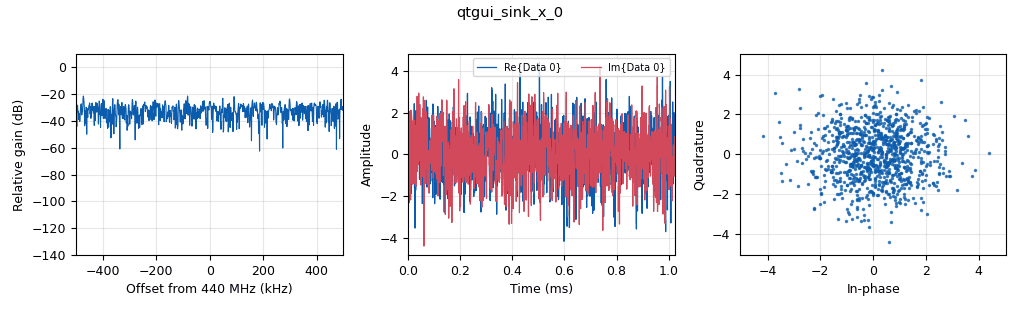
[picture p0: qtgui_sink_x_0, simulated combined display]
options:
  parameters:
    author: vivelpanel
    generate_options: qt_gui
    id: pulsar_simulator
    output_language: python
    title: Not titled yet
  states: {}

blocks:
- name: center_freq
  id: variable
  parameters:
    value: 440e6
  states: {}
- name: f_off
  id: variable
  parameters:
    value: .1e6
  states: {}
- name: 'off'
  id: variable
  parameters:
    value: '.01'
  states: {}
- name: per
  id: variable
  parameters:
    value: '.33'
  states: {}
- name: samp_rate
  id: variable
  parameters:
    value: 1e6
  states: {}
- name: time
  id: variable_qtgui_range
  parameters:
    start: '0'
    step: '.01'
    stop: '1'
    value: '0'
  states: {}
- name: analog_fastnoise_source_x_0
  id: analog_fastnoise_source_x
  parameters:
    amp: '1'
    noise_type: analog.GR_GAUSSIAN
    samples: '8192'
    seed: '234'
    type: complex
  states: {}
- name: analog_fastnoise_source_x_0_0
  id: analog_fastnoise_source_x
  parameters:
    amp: '.77'
    noise_type: analog.GR_GAUSSIAN
    samples: '8192'
    seed: '3872'
    type: complex
  states: {}
- name: analog_fastnoise_source_x_0_1
  id: analog_fastnoise_source_x
  parameters:
    amp: '1'
    noise_type: analog.GR_UNIFORM
    samples: '8192'
    seed: '9'
    type: complex
  states: {}
- name: analog_fastnoise_source_x_0_2
  id: analog_fastnoise_source_x
  parameters:
    amp: '.46'
    noise_type: analog.GR_GAUSSIAN
    samples: '8192'
    seed: '0'
    type: complex
  states: {}
- name: analog_noise_source_x_0
  id: analog_noise_source_x
  parameters:
    amp: '1'
    comment: Noise
    noise_type: analog.GR_GAUSSIAN
    seed: '55555'
    type: complex
  states: {}
- name: analog_sig_source_x_0
  id: analog_sig_source_x
  parameters:
    amp: pulse.pulsar(per, 0, time)
    freq: center_freq - (4*f_off)
    offset: '0'
    phase: '0'
    samp_rate: samp_rate
    type: complex
    waveform: analog.GR_COS_WAVE
  states: {}
- name: analog_sig_source_x_0_0
  id: analog_sig_source_x
  parameters:
    amp: pulse.pulsar(per, 4*off, time)
    comment: Pulsar
    freq: center_freq
    offset: '0'
    phase: '0'
    samp_rate: samp_rate
    type: complex
    waveform: analog.GR_COS_WAVE
  states: {}
- name: analog_sig_source_x_0_0_0
  id: analog_sig_source_x
  parameters:
    amp: pulse.pulsar(per, 9*off, time)
    comment: |-
      Pulsar

      For SIMPLICITY's sake,
      estimating that dispersion
      is linear and frequencies
      are discrete (even though
      this is known to be false).
    freq: center_freq + (5*f_off)
    offset: '0'
    phase: '0'
    samp_rate: samp_rate
    type: complex
    waveform: analog.GR_COS_WAVE
  states: {}
- name: analog_sig_source_x_0_1
  id: analog_sig_source_x
  parameters:
    amp: pulse.pulsar(per, 3*off, time)
    freq: center_freq - f_off
    offset: '0'
    phase: '0'
    samp_rate: samp_rate
    type: complex
    waveform: analog.GR_COS_WAVE
  states: {}
- name: analog_sig_source_x_0_1_0
  id: analog_sig_source_x
  parameters:
    amp: pulse.pulsar(per, 8*off, time)
    freq: center_freq + (4*f_off)
    offset: '0'
    phase: '0'
    samp_rate: samp_rate
    type: complex
    waveform: analog.GR_COS_WAVE
  states: {}
- name: analog_sig_source_x_0_2
  id: analog_sig_source_x
  parameters:
    amp: pulse.pulsar(per, 2*off, time)
    freq: center_freq - (2*f_off)
    offset: '0'
    phase: '0'
    samp_rate: samp_rate
    type: complex
    waveform: analog.GR_COS_WAVE
  states: {}
- name: analog_sig_source_x_0_2_0
  id: analog_sig_source_x
  parameters:
    amp: pulse.pulsar(per, 7*off, time)
    freq: center_freq + (3*f_off)
    offset: '0'
    phase: '0'
    samp_rate: samp_rate
    type: complex
    waveform: analog.GR_COS_WAVE
  states: {}
- name: analog_sig_source_x_0_3
  id: analog_sig_source_x
  parameters:
    amp: pulse.pulsar(per, off, time)
    freq: center_freq - (3*f_off)
    offset: '0'
    phase: '0'
    samp_rate: samp_rate
    type: complex
    waveform: analog.GR_COS_WAVE
  states: {}
- name: analog_sig_source_x_0_3_0
  id: analog_sig_source_x
  parameters:
    amp: pulse.pulsar(per, 6*off, time)
    freq: center_freq + (2*f_off)
    offset: '0'
    phase: '0'
    samp_rate: samp_rate
    type: complex
    waveform: analog.GR_COS_WAVE
  states: {}
- name: analog_sig_source_x_0_4
  id: analog_sig_source_x
  parameters:
    amp: pulse.pulsar(per, 5*off, time)
    freq: center_freq + f_off
    offset: '0'
    phase: '0'
    samp_rate: samp_rate
    type: complex
    waveform: analog.GR_COS_WAVE
  states: {}
- name: blocks_add_const_vxx_0
  id: blocks_add_const_vxx
  parameters:
    const: '0'
    type: complex
  states: {}
- name: blocks_add_xx_0
  id: blocks_add_xx
  parameters:
    type: complex
  states: {}
- name: blocks_add_xx_1
  id: blocks_add_xx
  parameters:
    num_inputs: '5'
    type: complex
  states: {}
- name: blocks_add_xx_2
  id: blocks_add_xx
  parameters:
    num_inputs: '10'
    type: complex
  states: {}
- name: blocks_stream_to_vector_0
  id: blocks_stream_to_vector
  parameters:
    type: complex
  states: {}
- name: blocks_throttle_0
  id: blocks_throttle
  parameters:
    samples_per_second: samp_rate
    type: complex
  states: {}
- name: gr_digital_rf_digital_rf_sink_0
  id: gr_digital_rf_digital_rf_sink
  parameters:
    center_freqs: '[]'
    channel0: ch0
    checksum: 'False'
    compression_level: '0'
    debug: 'False'
    file_cadence_ms: '1000'
    ignore_tags: 'False'
    input: fc32
    is_continuous: 'True'
    marching_periods: 'True'
    metadata: '{}'
    min_chunksize: '0'
    nchan: '1'
    sample_rate_denominator: '1'
    sample_rate_numerator: int(samp_rate)
    start: ''
    stop_on_skipped: 'False'
    stop_on_time_tag: 'False'
    subdir_cadence_s: '3600'
    top_level_dir: '"C:\\Users\\vlpannel\\Desktop\\SRT\\raw"'
    uuid: ''
    vlen: '2'
  states: {}
- name: pulse
  id: epy_module
  parameters:
    source_code: |
      # this module will be imported in the into your flowgraph

      def pulsar(period, offset, time):
          return int((time - offset) % period <= .01) * .2
  states: {}
- name: qtgui_sink_x_0
  id: qtgui_sink_x
  parameters:
    bw: samp_rate
    fc: center_freq
    fftsize: '1024'
    type: complex
  states: {}

connections:
- [analog_fastnoise_source_x_0, '0', blocks_add_xx_1, '0']
- [analog_fastnoise_source_x_0_0, '0', blocks_add_xx_1, '3']
- [analog_fastnoise_source_x_0_1, '0', blocks_add_const_vxx_0, '0']
- [analog_fastnoise_source_x_0_2, '0', blocks_add_xx_1, '2']
- [analog_noise_source_x_0, '0', blocks_add_xx_1, '4']
- [analog_sig_source_x_0, '0', blocks_add_xx_2, '0']
- [analog_sig_source_x_0_0, '0', blocks_add_xx_2, '4']
- [analog_sig_source_x_0_0_0, '0', blocks_add_xx_2, '9']
- [analog_sig_source_x_0_1, '0', blocks_add_xx_2, '3']
- [analog_sig_source_x_0_1_0, '0', blocks_add_xx_2, '8']
- [analog_sig_source_x_0_2, '0', blocks_add_xx_2, '2']
- [analog_sig_source_x_0_2_0, '0', blocks_add_xx_2, '7']
- [analog_sig_source_x_0_3, '0', blocks_add_xx_2, '1']
- [analog_sig_source_x_0_3_0, '0', blocks_add_xx_2, '6']
- [analog_sig_source_x_0_4, '0', blocks_add_xx_2, '5']
- [blocks_add_const_vxx_0, '0', blocks_add_xx_1, '1']
- [blocks_add_xx_0, '0', blocks_throttle_0, '0']
- [blocks_add_xx_1, '0', blocks_add_xx_0, '1']
- [blocks_add_xx_2, '0', blocks_add_xx_0, '0']
- [blocks_stream_to_vector_0, '0', gr_digital_rf_digital_rf_sink_0, '0']
- [blocks_throttle_0, '0', blocks_stream_to_vector_0, '0']
- [blocks_throttle_0, '0', qtgui_sink_x_0, '0']

metadata:
  file_format: 1
  grc_version: 3.10.3.0
